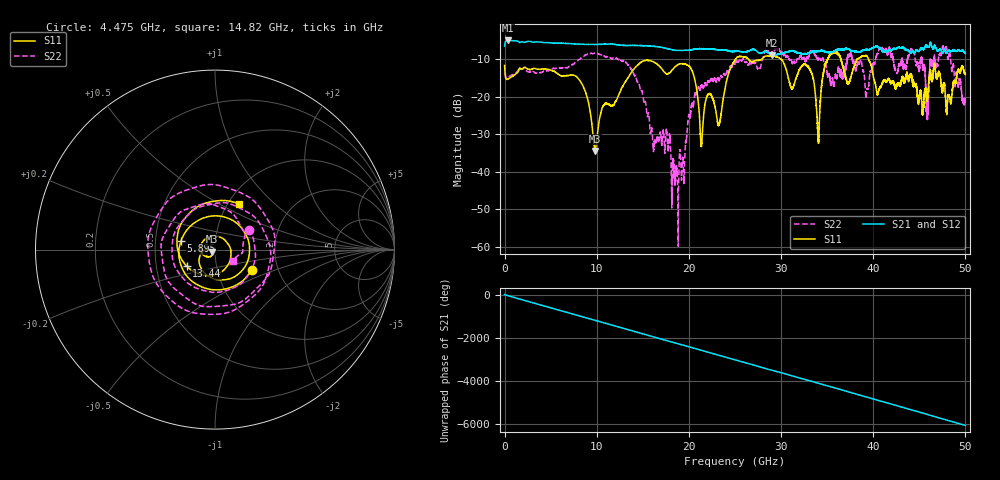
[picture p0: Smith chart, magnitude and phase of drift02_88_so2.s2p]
!Created with skrf (http://scikit-rf.org).
# Hz S RI R 50.0
!freq ReS11 ImS11 ReS21 ImS21 ReS12 ImS12 ReS22 ImS22
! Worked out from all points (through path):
!   10001 points, 300 kHz to 50 GHz, reference 50 ohm
!   highest |S21| = -5.04 dB at 325.3 MHz (marker M1); lowest = -9.0 dB at 29.01 GHz (marker M2)
!   group delay of S21, straight-line fit = 336 ps
!   lowest |S11| = -34.5 dB at 9.84 GHz (marker M3), VSWR 1.04, Z = 48.5 - j1.05 ohm
!   |S11| at or under -10 dB: start of sweep to 25.08 GHz; 29.97 GHz to 35.05 GHz (5.085 GHz wide, 15.6 % of centre); 39.48 GHz to end of sweep (the widest 3 of 9)
!   |S22| runs from -59.9 to -6.4 dB; largest |S21 - S12| = 0.023
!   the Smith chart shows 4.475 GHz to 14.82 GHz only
!   S11 on the Smith chart (normalised r, x): 4.475 GHz: 1.46, -0.35; 5.895 GHz: 0.68, +0.07; 13.44 GHz: 0.72, -0.14; 14.82 GHz: 1.12, +0.62
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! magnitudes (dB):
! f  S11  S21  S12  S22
! 300 kHz  -11.7  -6.5  -6.4  -11.5
! 325.3 MHz  -15.4  -5.0  -5.0  -15.0
! 4.475 GHz  -12.6  -5.6  -5.6  -13.2
! 5.895 GHz  -14.2  -5.7  -5.7  -12.4
! 8.335 GHz  -16.4  -6.0  -6.0  -9.6
! 9.84 GHz  -34.5  -6.1  -6.1  -8.5
! 13.44 GHz  -14.7  -6.4  -6.4  -11.6
! 14.82 GHz  -10.8  -6.4  -6.4  -18.5
! 16.67 GHz  -11.5  -6.7  -6.7  -31.5
! 18.66 GHz  -11.8  -7.7  -7.7  -38.4
! 20.37 GHz  -13.3  -7.5  -7.5  -22.0
! 21.37 GHz  -32.5  -7.2  -7.2  -16.9
! 25 GHz  -10.3  -7.9  -7.9  -11.2
! 29.01 GHz  -9.1  -9.0  -9.0  -8.2
! 33.34 GHz  -13.9  -8.1  -8.1  -8.1
! 34.02 GHz  -31.8  -7.9  -8.0  -10.3
! 35.54 GHz  -8.4  -8.1  -8.1  -15.4
! 41.67 GHz  -15.2  -7.7  -7.8  -7.3
! 44.26 GHz  -15.5  -8.0  -7.9  -7.8
! 45.87 GHz  -20.3  -6.9  -6.9  -25.7
! 47.75 GHz  -16.9  -7.4  -7.4  -8.1
! 50 GHz  -13.9  -8.5  -8.3  -20.0
